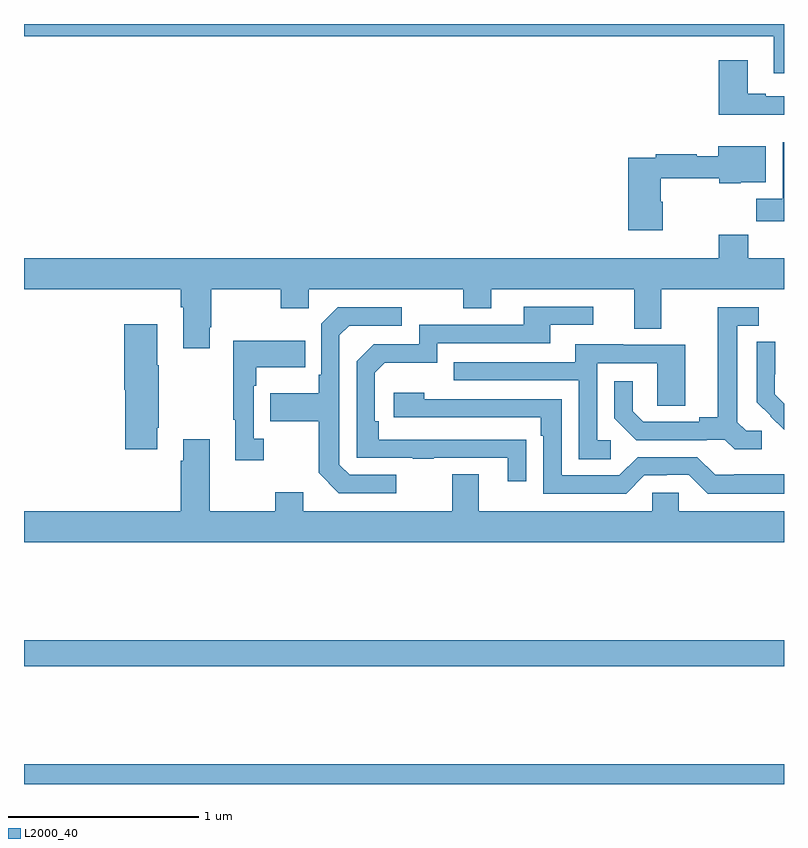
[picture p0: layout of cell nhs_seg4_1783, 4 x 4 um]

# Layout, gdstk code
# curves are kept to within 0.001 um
import gdstk
lib = gdstk.Library(unit=1e-6, precision=1e-09)
def R(c, l, rs):  # rectangles x0, y0, x1, y1
    for r in rs: c.add(gdstk.rectangle(r[:2], r[2:], *l))
def P(c, l, *ps):  # polygons
    for p in ps: c.add(gdstk.Polygon(p, *l))
L2000_40 = (2000, 40)

nhs_seg4_1783 = lib.new_cell('nhs_seg4_1783')
R(nhs_seg4_1783, L2000_40, [(203,776.9,207,777.004), (203,777.52,207,777.656)])
P(nhs_seg4_1783, L2000_40, [(207,780.9),(203,780.9),(203,780.836),(206.945,780.836),(206.945,780.642),(207,780.642)],
  [(207,780.519),(206.905,780.519),(206.905,780.532),(206.809,780.532),(206.809,780.709),(206.657,780.709),(206.657,780.422),(207,780.422)],
  [(207,780.277),(206.993,780.277),(206.993,779.98),(206.854,779.98),(206.854,779.862),(207,779.862)],
  [(206.363,779.964),(206.35,779.964),(206.35,780.087),(206.658,780.087),(206.658,780.062),(206.772,780.062),(206.772,780.068),(206.905,780.068),(206.905,780.256),(206.654,780.256),(206.654,780.204),(206.54,780.204),(206.54,780.215),(206.326,780.215),(206.326,780.195),(206.18,780.195),(206.18,779.814),(206.363,779.814)],
  [(203.977,779.305),(203.985,779.305),(203.985,779.504),(204.352,779.504),(204.352,779.405),(204.498,779.405),(204.498,779.504),(205.312,779.504),(205.312,779.405),(205.459,779.405),(205.459,779.504),(206.213,779.504),(206.213,779.296),(206.353,779.296),(206.353,779.504),(207,779.504),(207,779.668),(206.813,779.668),(206.813,779.792),(206.657,779.792),(206.657,779.668),(203,779.668),(203,779.504),(203.825,779.504),(203.825,779.408),(203.837,779.408),(203.837,779.193),(203.977,779.193)],
  [(205.643,778.712),(204.866,778.713),(204.866,778.81),(204.846,778.81),(204.846,779.064),(204.899,779.117),(205.176,779.117),(205.176,779.22),(205.771,779.22),(205.771,779.316),(205.996,779.316),(205.996,779.412),(205.631,779.412),(205.631,779.316),(205.08,779.316),(205.08,779.214),(204.84,779.214),(204.75,779.124),(204.75,778.617),(205.045,778.617),(205.045,778.612),(205.157,778.612),(205.157,778.617),(205.547,778.617),(205.547,778.494),(205.643,778.494)],
  [(204.958,778.527),(204.714,778.527),(204.66,778.581),(204.66,779.262),(204.711,779.313),(204.988,779.313),(204.988,779.409),(204.651,779.409),(204.564,779.322),(204.564,779.053),(204.552,779.053),(204.552,778.957),(204.295,778.957),(204.295,778.81),(204.552,778.81),(204.552,778.537),(204.657,778.431),(204.958,778.431)],
  [(206.884,778.758),(206.802,778.758),(206.755,778.805),(206.755,779.313),(206.866,779.313),(206.866,779.409),(206.651,779.409),(206.651,778.829),(206.555,778.829),(206.555,778.806),(206.26,778.806),(206.203,778.863),(206.203,779.02),(206.106,779.02),(206.106,778.826),(206.222,778.71),(206.594,778.71),(206.594,778.713),(206.688,778.713),(206.74,778.661),(206.884,778.661)],
  [(203.701,778.774),(203.709,778.774),(203.709,779.105),(203.701,779.105),(203.701,779.32),(203.528,779.32),(203.528,778.974),(203.534,778.974),(203.534,778.662),(203.701,778.662)],
  [(204.262,778.718),(204.21,778.718),(204.21,778.997),(204.223,778.997),(204.223,779.093),(204.479,779.093),(204.479,779.233),(204.102,779.233),(204.102,778.817),(204.113,778.817),(204.113,778.605),(204.262,778.605)],
  [(207,778.902),(206.951,778.952),(206.951,779.056),(206.953,779.056),(206.953,779.228),(206.856,779.228),(206.856,778.91),(206.929,778.837),(206.928,778.836),(207,778.764)],
  [(206.089,778.71),(206.016,778.71),(206.016,779.115),(206.334,779.115),(206.334,778.891),(206.479,778.891),(206.479,779.211),(206.155,779.211),(206.155,779.215),(205.901,779.215),(205.901,779.121),(205.261,779.121),(205.261,779.025),(205.92,779.025),(205.92,778.609),(206.089,778.609)],
  [(207,778.531),(206.737,778.531),(206.737,778.527),(206.637,778.527),(206.544,778.62),(206.229,778.62),(206.133,778.524),(205.83,778.524),(205.83,778.926),(205.106,778.926),(205.106,778.96),(204.945,778.96),(204.945,778.83),(205.721,778.83),(205.721,778.733),(205.734,778.733),(205.734,778.428),(206.169,778.428),(206.265,778.524),(206.384,778.524),(206.384,778.527),(206.499,778.527),(206.599,778.427),(207,778.427)],
  [(207,778.336),(206.445,778.336),(206.445,778.434),(206.307,778.434),(206.307,778.336),(205.393,778.336),(205.393,778.531),(205.253,778.531),(205.253,778.336),(204.469,778.336),(204.469,778.435),(204.322,778.435),(204.322,778.336),(203.977,778.336),(203.977,778.714),(203.837,778.714),(203.837,778.601),(203.825,778.601),(203.825,778.336),(203,778.336),(203,778.172),(207,778.172)])

lib.write_gds('nhs_seg4_1783.gds')
